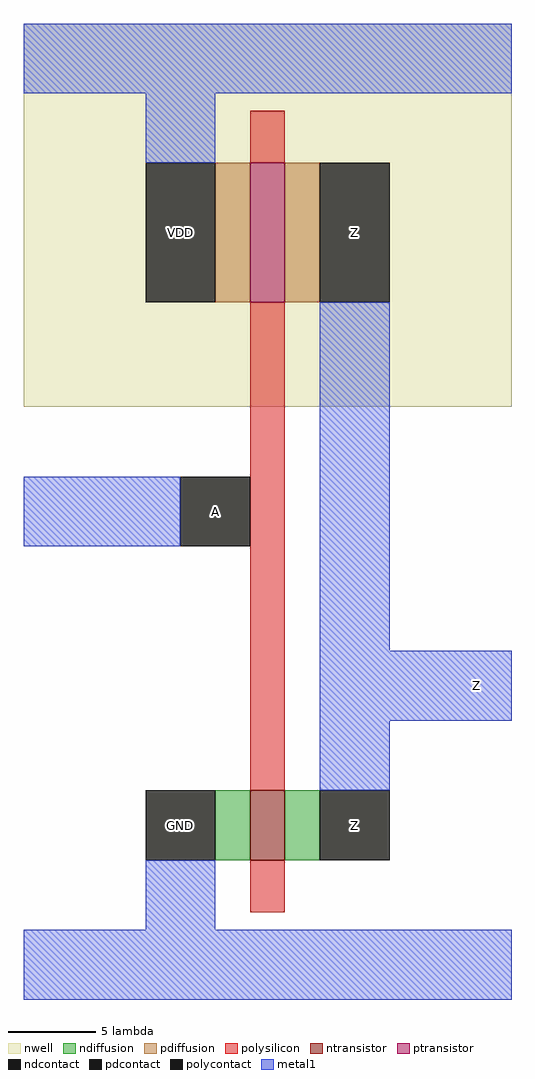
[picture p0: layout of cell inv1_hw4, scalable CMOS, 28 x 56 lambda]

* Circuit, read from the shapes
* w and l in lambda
.subckt inv1_hw4 A GND VDD Z
M1 Z A GND VSUBS nfet w=4 l=2
M2 Z A VDD n1 pfet w=8 l=2
.ends

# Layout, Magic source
magic
tech scmos
<< nwell >>
rect 8 -19 36 3
<< ntransistor >>
rect 21 -45 23 -41
<< ptransistor >>
rect 21 -13 23 -5
<< ndiffusion >>
rect 19 -45 21 -41
rect 23 -45 25 -41
<< pdiffusion >>
rect 19 -13 21 -5
rect 23 -13 25 -5
<< ndcontact >>
rect 15 -45 19 -41
rect 25 -45 29 -41
<< pdcontact >>
rect 15 -13 19 -5
rect 25 -13 29 -5
<< polysilicon >>
rect 21 -5 23 -2
rect 21 -41 23 -13
rect 21 -48 23 -45
<< polycontact >>
rect 17 -27 21 -23
<< metal1 >>
rect 8 -1 36 3
rect 15 -5 19 -1
rect 8 -27 17 -23
rect 25 -33 29 -13
rect 25 -37 36 -33
rect 25 -41 29 -37
rect 15 -49 19 -45
rect 8 -53 36 -49
<< labels >>
rlabel pdcontact 17 -9 17 -9 1 VDD
rlabel pdcontact 27 -9 27 -9 1 Z
rlabel ndcontact 27 -43 27 -43 1 Z
rlabel ndcontact 17 -43 17 -43 1 GND
rlabel metal1 34 -35 34 -35 1 Z
rlabel polycontact 19 -25 19 -25 1 A
<< end >>
